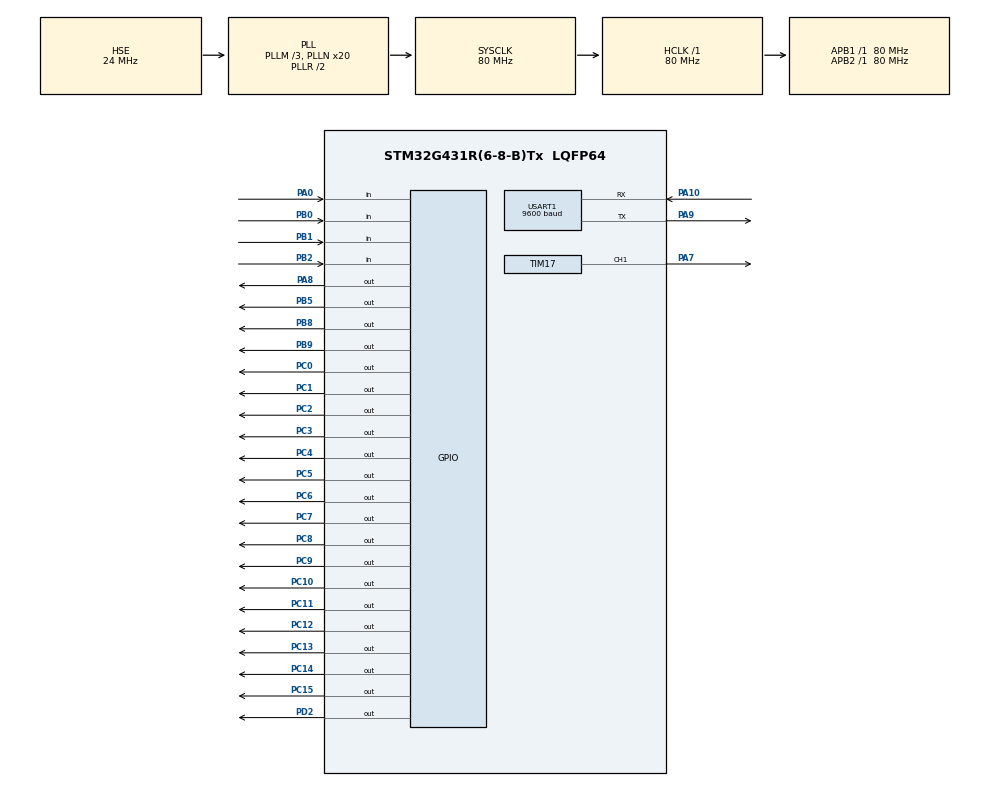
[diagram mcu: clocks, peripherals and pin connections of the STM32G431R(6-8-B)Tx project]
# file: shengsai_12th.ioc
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Mcu.Family=STM32G4
Mcu.Name=STM32G431R(6-8-B)Tx
Mcu.Package=LQFP64
NVIC.PriorityGroup=NVIC_PRIORITYGROUP_4
NVIC.TIM4_IRQn=true\:0\:0\:false\:false\:true\:true\:true\:true
NVIC.USART1_IRQn=true\:0\:0\:false\:false\:true\:true\:true\:true
PA0.GPIO_PuPd=GPIO_PULLUP
PA0.Signal=GPIO_Input
PA10.Mode=Asynchronous
PA10.Signal=USART1_RX
PA7.Signal=S_TIM17_CH1
PA8.Signal=GPIO_Output
PA9.Mode=Asynchronous
PA9.Signal=USART1_TX
PB0.GPIO_PuPd=GPIO_PULLUP
PB0.Signal=GPIO_Input
PB1.GPIO_PuPd=GPIO_PULLUP
PB1.Signal=GPIO_Input
PB2.GPIO_PuPd=GPIO_PULLUP
PB2.Signal=GPIO_Input
PB5.Signal=GPIO_Output
PB8-BOOT0.Signal=GPIO_Output
PB9.Signal=GPIO_Output
PC0.Signal=GPIO_Output
PC1.Signal=GPIO_Output
PC10.PinState=GPIO_PIN_SET
PC10.Signal=GPIO_Output
PC11.PinState=GPIO_PIN_SET
PC11.Signal=GPIO_Output
PC12.PinState=GPIO_PIN_SET
PC12.Signal=GPIO_Output
PC13.PinState=GPIO_PIN_SET
PC13.Signal=GPIO_Output
PC14-OSC32_IN.PinState=GPIO_PIN_SET
PC14-OSC32_IN.Signal=GPIO_Output
PC15-OSC32_OUT.PinState=GPIO_PIN_SET
PC15-OSC32_OUT.Signal=GPIO_Output
PC2.Signal=GPIO_Output
PC3.Signal=GPIO_Output
PC4.Signal=GPIO_Output
PC5.Signal=GPIO_Output
PC6.Signal=GPIO_Output
PC7.Signal=GPIO_Output
PC8.PinState=GPIO_PIN_SET
PC8.Signal=GPIO_Output
PC9.PinState=GPIO_PIN_SET
PC9.Signal=GPIO_Output
PD2.Signal=GPIO_Output
PF0-OSC_IN.Mode=HSE-External-Oscillator
PF0-OSC_IN.Signal=RCC_OSC_IN
PF1-OSC_OUT.Mode=HSE-External-Oscillator
PF1-OSC_OUT.Signal=RCC_OSC_OUT
ProjectManager.HeapSize=0x200
ProjectManager.StackSize=0x400
ProjectManager.TargetToolchain=MDK-ARM V5.32
RCC.ADC12Freq_Value=80000000
RCC.AHBFreq_Value=80000000
RCC.APB1Freq_Value=80000000
RCC.APB1TimFreq_Value=80000000
RCC.APB2Freq_Value=80000000
RCC.APB2TimFreq_Value=80000000
RCC.CortexFreq_Value=80000000
RCC.EXTERNAL_CLOCK_VALUE=12288000
RCC.HCLKFreq_Value=80000000
RCC.HSE_VALUE=24000000
RCC.HSI48_VALUE=48000000
RCC.HSI_VALUE=16000000
RCC.LSE_VALUE=32768
RCC.PLLM=RCC_PLLM_DIV3
RCC.PLLN=20
RCC.PLLSourceVirtual=RCC_PLLSOURCE_HSE
RCC.SYSCLKFreq_VALUE=80000000
RCC.SYSCLKSource=RCC_SYSCLKSOURCE_PLLCLK
RCC.USBFreq_Value=80000000
RCC.VCOOutputFreq_Value=160000000
SH.S_TIM17_CH1.0=TIM17_CH1,PWM Generation1 CH1
TIM17.Channel=TIM_CHANNEL_1
TIM17.PeriodNoDither=500-1
TIM17.Prescaler=80-1
TIM17.PulseNoDither_1=0
TIM4.PeriodNoDither=10000-1
TIM4.Prescaler=80-1
USART1.BaudRate=9600
USART1.VirtualMode-Asynchronous=VM_ASYNC
VP_SYS_VS_DBSignals.Mode=DisableDeadBatterySignals
VP_TIM17_VS_ClockSourceINT.Mode=Enable_Timer
VP_TIM4_VS_ClockSourceINT.Mode=Internal
board=custom

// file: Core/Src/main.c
/* USER CODE BEGIN Header */
/**
  ******************************************************************************
  * @file           : main.c
  * @brief          : Main program body
  ******************************************************************************
  * @attention
  *
  * Copyright (c) 2024 STMicroelectronics.
  * All rights reserved.
  *
  * This software is licensed under terms that can be found in the LICENSE file
  * in the root directory of this software component.
  * If no LICENSE file comes with this software, it is provided AS-IS.
  *
  ******************************************************************************
  */
/* USER CODE END Header */
#include "main.h"
#include "tim.h"
#include "usart.h"
#include "gpio.h"

/* USER CODE BEGIN Includes */

#include "lcd.h"
#include "led.h"
#include "timer.h"
#include "myusart.h"
#include "stdio.h"
#include "String.h"

/* USER CODE END Includes */

/* USER CODE BEGIN PD */
//汽车
struct Car
{
    char type[5];
    char id[5];
};
//时间
struct Time
{
    int year;
    int month;
    int day;
    int hour;
    int min;
    int sec;
};

//停车场
struct Parking
{
    struct Car car;
    struct Time time;
    int canpark;//判断能否停车
};
/* USER CODE END PD */

void SystemClock_Config(void);
/* USER CODE BEGIN PFP */
void lcd_proc(void);
void key_proc(void);
void uart_proc(void);
void led_proc(void);

int park(struct Parking *parking,struct Car car, struct Time time);
void parkinit(struct Parking *parking);
int Rename(struct Parking *parking,struct Car car, struct Time time);
void outParking(struct Parking *parking,struct Car car, struct Time time);
void ControlParking(struct Parking *parking,struct Car car, struct Time time);

/* USER CODE END PFP */

/* USER CODE BEGIN 0 */

//led灯
unsigned char ucled=0x00;

//lcd上要显示的数据
unsigned char lcd_text[30];

//减速函数
__IO uint32_t uwTick_lcd;
__IO uint32_t uwTick_led;
__IO uint32_t uwTick_uart;

//显示界面参数
unsigned char view=0;

//空闲车位
unsigned int spare=8;

//CNBR类型车辆数量
unsigned int CNBR_num=0;
//CNBR类型停车费率
double CNBR_Park=3.5;

//VNBR类型车辆数量
unsigned int VNBR_num=0;
//VNBR类型停车费率
double VNBR_Park=2.0;

//按下B4的标志
unsigned char flag_B4=0;

int location=0;

struct Parking parking[9];

/* USER CODE END 0 */

int main(void)
{

  /* MCU Configuration--------------------------------------------------------*/

  /* Reset of all peripherals, Initializes the Flash interface and the Systick. */
  HAL_Init();

  /* Configure the system clock */
  SystemClock_Config();

  /* Initialize all configured peripherals */
  MX_GPIO_Init();
  MX_TIM4_Init();
  MX_TIM17_Init();
  MX_USART1_UART_Init();
  /* USER CODE BEGIN 2 */

    led_disp(ucled);

    LCD_Init();
    LCD_Clear(Black);
    LCD_SetBackColor(Black);
    LCD_SetTextColor(White);

    //使能定时器4,开启定时器中断。
    HAL_TIM_Base_Start_IT(&htim4);

    //开启串口
    HAL_UART_Receive_IT(&huart1,&rxdat,1);

    //PWM
    HAL_TIM_PWM_Start(&htim17,TIM_CHANNEL_1);

    parkinit(parking);
  /* USER CODE END 2 */

  /* Infinite loop */
  while (1)
  {

    /* USER CODE BEGIN 3 */
      key_proc();
      led_proc();
      lcd_proc();
      if(rx_pointer>0)
      {
          int temp=rx_pointer;
          HAL_Delay(1);
          if(temp==rx_pointer)
              uart_proc();
      }
  }
  /* USER CODE END 3 */
}

void SystemClock_Config(void)
{
  RCC_OscInitTypeDef RCC_OscInitStruct = {0};
  RCC_ClkInitTypeDef RCC_ClkInitStruct = {0};

  /** Configure the main internal regulator output voltage
  */
  HAL_PWREx_ControlVoltageScaling(PWR_REGULATOR_VOLTAGE_SCALE1);

  /** Initializes the RCC Oscillators according to the specified parameters
  * in the RCC_OscInitTypeDef structure.
  */
  RCC_OscInitStruct.OscillatorType = RCC_OSCILLATORTYPE_HSE;
  RCC_OscInitStruct.HSEState = RCC_HSE_ON;
  RCC_OscInitStruct.PLL.PLLState = RCC_PLL_ON;
  RCC_OscInitStruct.PLL.PLLSource = RCC_PLLSOURCE_HSE;
  RCC_OscInitStruct.PLL.PLLM = RCC_PLLM_DIV3;
  RCC_OscInitStruct.PLL.PLLN = 20;
  RCC_OscInitStruct.PLL.PLLP = RCC_PLLP_DIV2;
  RCC_OscInitStruct.PLL.PLLQ = RCC_PLLQ_DIV2;
  RCC_OscInitStruct.PLL.PLLR = RCC_PLLR_DIV2;
  if (HAL_RCC_OscConfig(&RCC_OscInitStruct) != HAL_OK)
  {
    Error_Handler();
  }

  /** Initializes the CPU, AHB and APB buses clocks
  */
  RCC_ClkInitStruct.ClockType = RCC_CLOCKTYPE_HCLK|RCC_CLOCKTYPE_SYSCLK
                              |RCC_CLOCKTYPE_PCLK1|RCC_CLOCKTYPE_PCLK2;
  RCC_ClkInitStruct.SYSCLKSource = RCC_SYSCLKSOURCE_PLLCLK;
  RCC_ClkInitStruct.AHBCLKDivider = RCC_SYSCLK_DIV1;
  RCC_ClkInitStruct.APB1CLKDivider = RCC_HCLK_DIV1;
  RCC_ClkInitStruct.APB2CLKDivider = RCC_HCLK_DIV1;

  if (HAL_RCC_ClockConfig(&RCC_ClkInitStruct, FLASH_LATENCY_2) != HAL_OK)
  {
    Error_Handler();
  }
}

/* USER CODE BEGIN 4 */

void key_proc(void)
{
    if(1==key[0].single_sta)
    {

        key[0].single_sta=0;
        view=(view+1)%2;
        LCD_Clear(Black);
        ucled|=0x01;
        led_disp(ucled);
    }
    else if(1==key[1].single_sta)//按下B2，VNBR、CNBR的费率增加0.5,仅在费率设置界面有效
    {
        key[1].single_sta=0;
        if(1==view)
        {
            VNBR_Park+=0.5;
            CNBR_Park+=0.5;
        }
    }
    else if(1==key[2].single_sta)//按下B3，VNBR、CNBR的费率减少0.5，仅在费率设置界面有效
    {
        key[2].single_sta=0;
        if(1==view)
        {
            VNBR_Park-=0.5;
            CNBR_Park-=0.5;

        }
    }
    else if(1==key[3].single_sta)//切换PA7的输出状态：（2KHZ、20%占空比的脉冲信号）或者低电平
    {
        key[3].single_sta=0;
        flag_B4=!flag_B4;

        if(0==flag_B4)//低电平
        {
            __HAL_TIM_SetCompare(&htim17,TIM_CHANNEL_1,0);
        }
        else if(1==flag_B4)//（2KHZ、20%占空比的脉冲信号）
        {

            __HAL_TIM_SetCompare(&htim17,TIM_CHANNEL_1,100);
        }
    }
}

void led_proc(void)
{
    if((uwTick-uwTick_led)<50)return;
    uwTick_led=uwTick;
      if(1==flag_B4)//（2KHZ、20%占空比的脉冲信号）
      {
          ucled|=0x02;
      }
      else
      {
          ucled&=0xfd;
      }

      if(spare>0)
      {
          ucled|=0x01;
      }
      else
      {
          ucled&=0xfe;
      }
      led_disp(ucled);
}

void parkinit(struct Parking *parking)
{
    for(int i=0;i<8;i++)
    {
        parking[i].canpark=1;
        parking[i].time.day=0;
        parking[i].time.month=0;
        parking[i].time.year=0;
        parking[i].time.hour=0;
        parking[i].time.min=0;
        parking[i].time.sec=0;
        strcpy(parking[i].car.id,"");
        strcpy(parking[i].car.type,"");
    }
}

int park(struct Parking *parking,struct Car car, struct Time time)
{
    int typeflag=0;
    if(1==Rename(parking,car,time))return 0;

    //没有位置了
    if(spare<=0)
    {
        return 0;
    }
    //判断车辆类型
    if(strcmp(car.type,"CNBR")==0)
    {
        typeflag=1;
    }
    else if(strcmp(car.type,"VNBR")==0)
    {
        typeflag=2;
    }
    int i;
    for(i=0;i<8;i++)
    {
        //判断是否能停车
        if(parking[i].canpark!=0)
        {
            if(typeflag==1)
            {
                CNBR_num++;
                spare--;
            }
            else if(typeflag==2)
            {
                VNBR_num++;
                spare--;
            }
			//到这就是成功停车了 结构体内赋值
			strcpy((parking[i].car).id, car.id);
			strcpy((parking[i].car).type, car.type);

			parking[i].time.year = time.year;
			parking[i].time.month = time.month;
			parking[i].time.day = time.day;
			parking[i].time.hour = time.hour;
			parking[i].time.min = time.min;
			parking[i].time.sec= time.sec;
            //该车位置为不能停车
			parking[i].canpark = 0;

			return 1;

        }
    }
    return 0;
}

int Rename(struct Parking *parking,struct Car car, struct Time time)
{
   int i;

    for(i=0;i<8;i++)
    {
       if((0==strcmp(car.id,parking[i].car.id))&&(0==strcmp(car.type,parking[i].car.type)))
       {
           location=i;
           return 1;
       }
    }
   return 0;

}

void outParking(struct Parking *parking,struct Car car, struct Time time)
{
    double money=0;
    double avg=0;

    int hours=0;

    if(0==strcmp(parking[location].car.type,"VNBR"))
    {
        VNBR_num--;
        avg=VNBR_Park;
    }
    else if(0==strcmp(parking[location].car.type,"CNBR"))
    {
        CNBR_num--;
        avg=CNBR_Park;
    }
    spare++;

    hours=(time.year-parking[location].time.year)*365*24+(time.month-parking[location].time.month)*30*24
            +(time.day-parking[location].time.day)*24+(time.hour-parking[location].time.hour+1);

    money=hours*avg;

    char str[30];
    sprintf(str,"%s:%s:%d:%0.2f",car.type,car.id,hours,money);
    HAL_UART_Transmit(&huart1,(uint8_t *)str,strlen(str),100);

        strcpy(parking[location].car.type,"");
		strcpy(parking[location].car.id,"");
		parking[location].time.year=0;
		parking[location].time.month=0;
		parking[location].time.day=0;
		parking[location].time.hour=0;
		parking[location].time.min=0;
		parking[location].time.sec=0;
		parking[location].canpark=1;
}

void ControlParking(struct Parking *parking,struct Car car, struct Time time)
{
    if(0==park(parking,car,time))
    {
        outParking(parking,car,time);
    }
}

void uart_proc(void)
{
    if((uwTick-uwTick_uart)<100)return;
    uwTick_uart=uwTick;

    if(rx_pointer>0)
    {
             struct Car car;
            struct Time time;
        //获取车辆进出信息，并计算出费用
        if(22==rx_pointer)
        {

            char car_time[13];

            sscanf(rxdata,"%4s:%4s:%12s",car.type,car.id,car_time);

            time.year=2000+((int)car_time[0]-48)*10+((int)car_time[1]-48);
            time.month=((int)car_time[2]-48)*10+((int)car_time[3]-48);
            time.day=((int)car_time[4]-48)*10+((int)car_time[5]-48);
            time.hour=((int)car_time[6]-48)*10+((int)car_time[7]-48);
            time.min=((int)car_time[8]-48)*10+((int)car_time[9]-48);
            time.sec=((int)car_time[10]-48)*10+((int)car_time[11]-48);

            if((strcmp(car.type,"VNBR")!=0)&&(strcmp(car.type,"CNBR")!=0))
            {
            char temp[30];
            sprintf(temp,"Error Type Format\r\n");
            HAL_UART_Transmit(&huart1,(uint8_t *)temp,strlen(temp),50);

            }

            ControlParking(parking,car,time);
        }
        else
        {
            char temp[30];
            sprintf(temp,"Error\r\n");
            HAL_UART_Transmit(&huart1,(uint8_t *)temp,strlen(temp),50);
        }
        Rename(parking,car,time);
        rx_pointer=0;
        memset(rxdata,0,30);
    }
}

void lcd_proc(void)
{
    if((uwTick-uwTick_lcd)<100)return;
    uwTick_lcd=uwTick;

    if(0==view)//车位显示界面
    {
       memset(lcd_text,0,sizeof(lcd_text));
       sprintf((char *)lcd_text,"       DATA             ");
       LCD_DisplayStringLine(Line1,lcd_text);

       memset(lcd_text,0,sizeof(lcd_text));
        sprintf((char *)lcd_text,"   CNBR:%d            ",CNBR_num);
       LCD_DisplayStringLine(Line3,lcd_text);

       memset(lcd_text,0,sizeof(lcd_text));
        sprintf((char *)lcd_text,"   VNBR:%d             ",VNBR_num);
       LCD_DisplayStringLine(Line5,lcd_text);

       memset(lcd_text,0,sizeof(lcd_text));
        sprintf((char *)lcd_text,"   IDLE:%d             ",spare);
       LCD_DisplayStringLine(Line7,lcd_text);

    }
    else if(1==view)//费率设置界面
    {
        memset(lcd_text,0,sizeof(lcd_text));
       sprintf((char *)lcd_text,"       PARA             ");
       LCD_DisplayStringLine(Line1,lcd_text);

       memset(lcd_text,0,sizeof(lcd_text));
        sprintf((char *)lcd_text,"   CNBR:%0.2f             ",CNBR_Park);
       LCD_DisplayStringLine(Line3,lcd_text);

       memset(lcd_text,0,sizeof(lcd_text));
        sprintf((char *)lcd_text,"   VNBR:%0.2f             ",VNBR_Park);
       LCD_DisplayStringLine(Line5,lcd_text);
    }

}

/* USER CODE END 4 */

void Error_Handler(void)
{
  __disable_irq();
  while (1)
  {
  }
}
